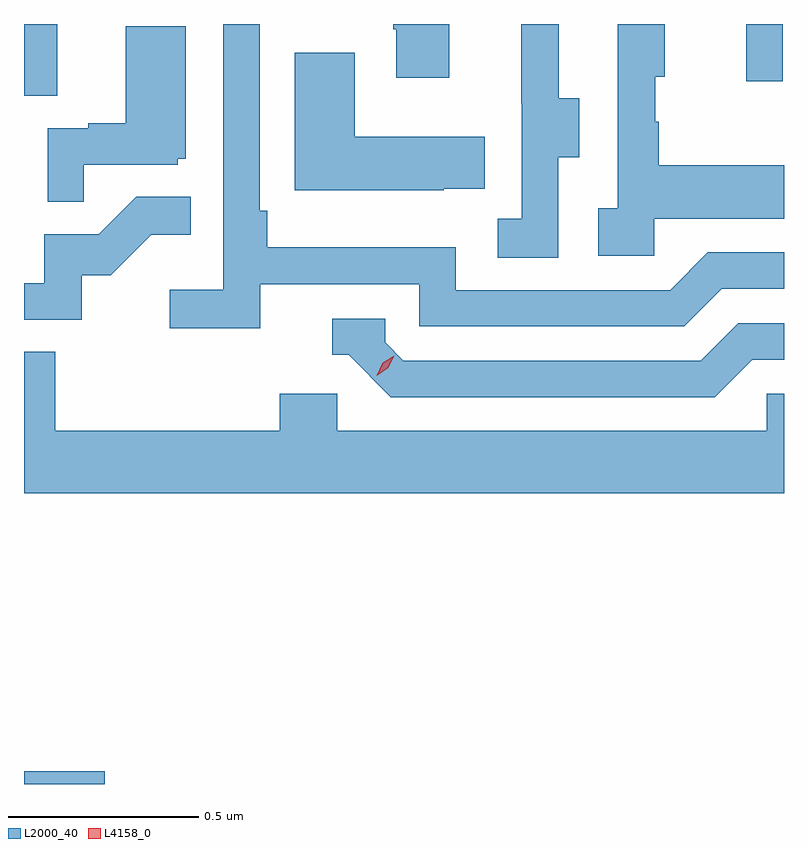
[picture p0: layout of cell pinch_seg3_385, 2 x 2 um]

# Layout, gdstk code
import gdstk
lib = gdstk.Library(unit=1e-6, precision=1e-09)
def R(c, l, rs):  # rectangles x0, y0, x1, y1
    for r in rs: c.add(gdstk.rectangle(r[:2], r[2:], *l))
def P(c, l, *ps):  # polygons
    for p in ps: c.add(gdstk.Polygon(p, *l))
L2000_40 = (2000, 40)
L4158_0 = (4158, 0)

pinch_seg3_385 = lib.new_cell('pinch_seg3_385')
R(pinch_seg3_385, L2000_40, [(998.464,689.495,998.677,689.528), (998.464,691.306,998.551,691.495), (1000.364,691.344,1000.461,691.495)])
P(pinch_seg3_385, L2000_40, [(1000.122,690.983),(1000.464,690.983),(1000.464,691.123),(1000.135,691.123),(1000.135,691.238),(1000.125,691.238),(1000.125,691.356),(1000.15,691.356),(1000.15,691.495),(1000.026,691.495),(1000.026,691.01),(999.975,691.01),(999.975,690.885),(1000.122,690.885)],
  [(999.086,690.81),(999.504,690.81),(999.504,690.699),(1000.201,690.699),(1000.3,690.798),(1000.464,690.798),(1000.464,690.894),(1000.263,690.894),(1000.164,690.795),(999.6,690.795),(999.6,690.907),(999.104,690.907),(999.104,691.003),(999.084,691.003),(999.084,691.495),(998.988,691.495),(998.988,690.796),(998.847,690.796),(998.847,690.694),(999.086,690.694)],
  [(999.583,691.495),(999.436,691.495),(999.436,691.481),(999.443,691.481),(999.443,691.353),(999.583,691.353)],
  [(999.87,691.144),(999.925,691.144),(999.925,691.299),(999.871,691.299),(999.871,691.495),(999.773,691.495),(999.773,691.287),(999.774,691.287),(999.774,690.983),(999.711,690.983),(999.711,690.88),(999.87,690.88)],
  [(998.621,691.125),(998.868,691.125),(998.868,691.14),(998.89,691.14),(998.89,691.489),(998.732,691.489),(998.732,691.234),(998.633,691.234),(998.633,691.221),(998.526,691.221),(998.526,691.027),(998.621,691.027)],
  [(999.569,691.061),(999.677,691.061),(999.677,691.198),(999.334,691.198),(999.334,691.42),(999.176,691.42),(999.176,691.058),(999.569,691.058)],
  [(998.616,690.834),(998.692,690.834),(998.799,690.941),(998.903,690.941),(998.903,691.04),(998.759,691.04),(998.661,690.942),(998.517,690.942),(998.517,690.813),(998.464,690.813),(998.464,690.717),(998.616,690.717)],
  [(1000.381,690.612),(1000.464,690.612),(1000.464,690.708),(1000.344,690.708),(1000.245,690.609),(999.462,690.609),(999.414,690.657),(999.414,690.72),(999.275,690.72),(999.275,690.624),(999.318,690.624),(999.429,690.513),(1000.282,690.513)],
  [(1000.464,690.522),(1000.419,690.522),(1000.419,690.424),(999.288,690.424),(999.288,690.522),(999.137,690.522),(999.137,690.424),(998.546,690.424),(998.546,690.632),(998.464,690.632),(998.464,690.26),(1000.464,690.26)])
P(pinch_seg3_385, L4158_0, [(999.392,690.57),(999.392,690.57),(999.408,690.603),(999.438,690.622),(999.438,690.622),(999.438,690.622),(999.423,690.59),(999.392,690.57)])

lib.write_gds('pinch_seg3_385.gds')
